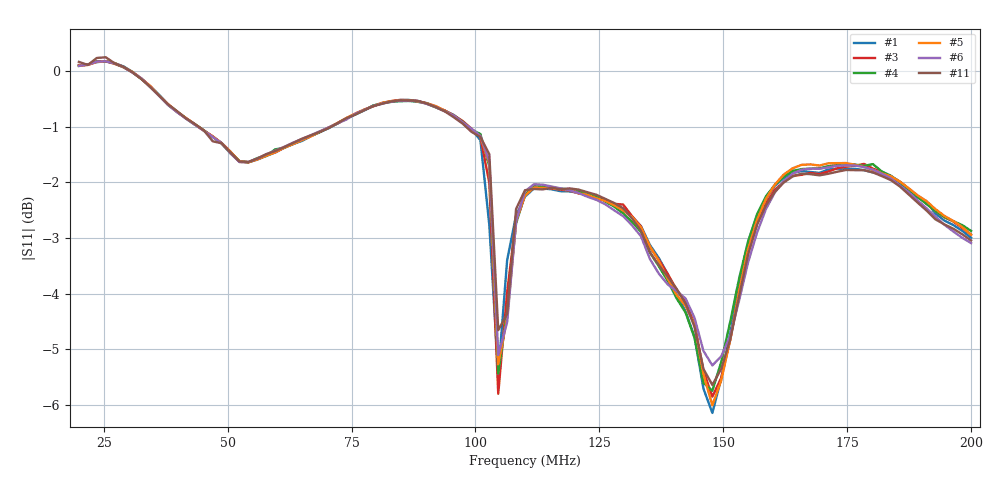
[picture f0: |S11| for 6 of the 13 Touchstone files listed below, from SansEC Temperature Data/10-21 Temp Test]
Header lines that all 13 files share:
# HZ S RI R 50
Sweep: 20 MHz to 200 MHz
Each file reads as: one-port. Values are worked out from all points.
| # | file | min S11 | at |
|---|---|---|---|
| 1 | 85.2 c.s1p | -6.1 dB | 147.8 MHz |
| 2 | 86.2 c.s1p | -6.1 dB | 147.8 MHz |
| 3 | 87.0 c.s1p | -5.9 dB | 147.8 MHz |
| 4 | 88.1.s1p | -5.7 dB | 147.8 MHz |
| 5 | 89.25.s1p | -6.0 dB | 147.8 MHz |
| 6 | 90.3.s1p | -5.3 dB | 147.8 MHz |
| 7 | 91.5.s1p | -5.9 dB | 147.8 MHz |
| 8 | 91.8.s1p | -5.7 dB | 147.8 MHz |
| 9 | 92.7.s1p | -5.7 dB | 147.8 MHz |
| 10 | 93.75.s1p | -5.9 dB | 147.8 MHz |
| 11 | 94.7.s1p | -5.6 dB | 147.8 MHz |
| 12 | 95.5.s1p | -6.1 dB | 147.8 MHz |
| 13 | 96.25.s1p | -5.9 dB | 147.8 MHz |
